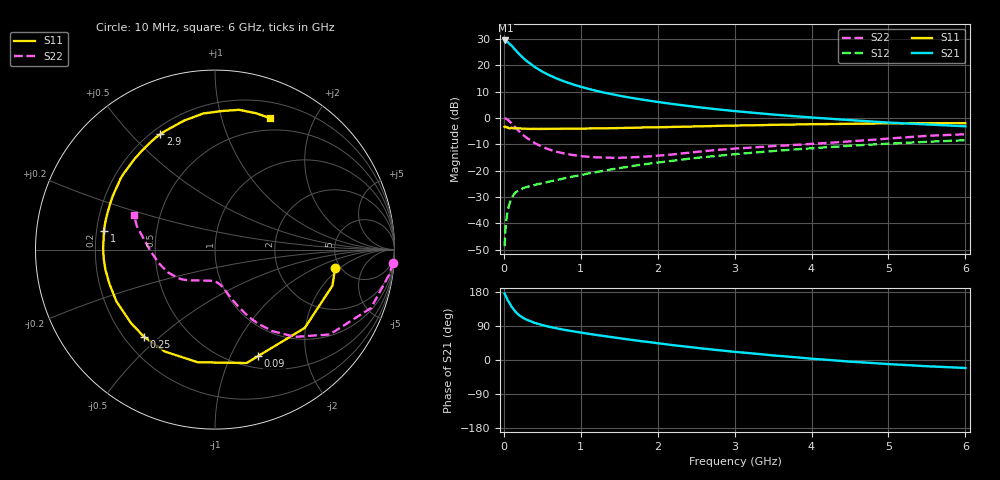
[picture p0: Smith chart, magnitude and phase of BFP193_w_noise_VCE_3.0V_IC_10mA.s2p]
! Infineon Technologies  Discrete & RF Semiconductors
! BFP193
! VCE =  3.0 V,  IC =  10 mA
! Common Emitter S-Parameters:  Jan 2017
# GHz  S  MA  R  50
!  f  S11  S21  S12  S22
! GHz  MAG  ANG  MAG  ANG  MAG  ANG  MAG  ANG
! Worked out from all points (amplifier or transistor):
!   77 points, 10 MHz to 6 GHz, reference 50 ohm
!   highest |S21| = 29.4 dB at 20 MHz (marker M1)
!   |S21| within 3 dB of that: start of sweep to 131.7 MHz
!   unconditionally stable (mu >= 1): 1.125 GHz to 2.646 GHz
!   at 130 MHz: K = 0.24, MSG = 27.8 dB, |S12| = -29.1 dB
!   at 2.2 GHz: K = 1.04, MAG = 9.5 dB, |S12| = -16.2 dB
!   at 6 GHz: K = 0.89, MSG = 2.6 dB, |S12| = -8.5 dB
!   lowest NFmin = 0.87 dB at 450 MHz
!   S11 on the Smith chart (normalised r, x): 10 MHz: 4.52, -1.71; 90 MHz: 0.64, -1.28; 250 MHz: 0.28, -0.44; 1 GHz: 0.23, +0.08; 2.9 GHz: 0.23, +0.61; 6 GHz: 0.36, +1.44
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0.01  0.6772 -8.7  29.3 175.4  0.0037 83.3  0.9965 -4.2
0.02  0.6845 -17.1  29.4 171.1  0.0074 83.7  0.9779 -8.6
0.05  0.6637 -41.1  27.54 158.0  0.0173 72.8  0.9283 -20.5
0.09  0.64 -67.9  24.16 144.4  0.0279 61.8  0.8162 -32.9
0.1  0.6561 -74.4  23.57 140.4  0.0306 60.2  0.7951 -36.5
0.15  0.635 -98.7  19.42 127.4  0.0383 50.6  0.6592 -47.5
0.2  0.6331 -116.2  16.23 118.2  0.0426 46.4  0.5554 -54.9
0.25  0.6261 -129.2  13.75 111.0  0.0465 43.5  0.4758 -59.9
0.3  0.622 -138.7  11.86 105.9  0.0491 41.8  0.4152 -63.6
0.4  0.6205 -152.3  9.259 97.9  0.0536 42.1  0.3339 -68.3
0.5  0.6185 -162.1  7.536 92.0  0.058 42.5  0.2829 -71.8
0.6  0.6207 -169.6  6.364 87.2  0.0625 43.8  0.2485 -74.5
0.7  0.6221 -175.5  5.487 83.1  0.067 45.5  0.2251 -76.6
1  0.6275 170.4  3.897 72.4  0.0822 48.8  0.1882 -84.2
1.1  0.6297 166.3  3.554 69.3  0.0886 49.4  0.1832 -86.6
1.5  0.6429 152.5  2.638 57.6  0.1116 50.5  0.1754 -99.1
2.1  0.6689 134.5  1.917 41.8  0.1483 48.8  0.1974 -119.5
2.9  0.711 115.4  1.394 23.7  0.1984 42.9  0.2552 -141.0
3.1  0.7191 111.2  1.307 19.8  0.2106 41.2  0.2671 -145.9
4.1  0.7622 93.4  0.995 2.0  0.2715 31.6  0.3284 -169.1
5.1  0.79 78.8  0.803 -11.9  0.3306 20.7  0.4158 168.9
6  0.7943 67.2  0.694 -21.1  0.3775 10.6  0.4905 156.7
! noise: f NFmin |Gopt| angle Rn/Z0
0.45  0.87  0.21  156  0.07
0.9  1  0.35  173  0.06
1.9  1.75  0.57  -146  0.13
2.4  2.13  0.63  -128  0.31
